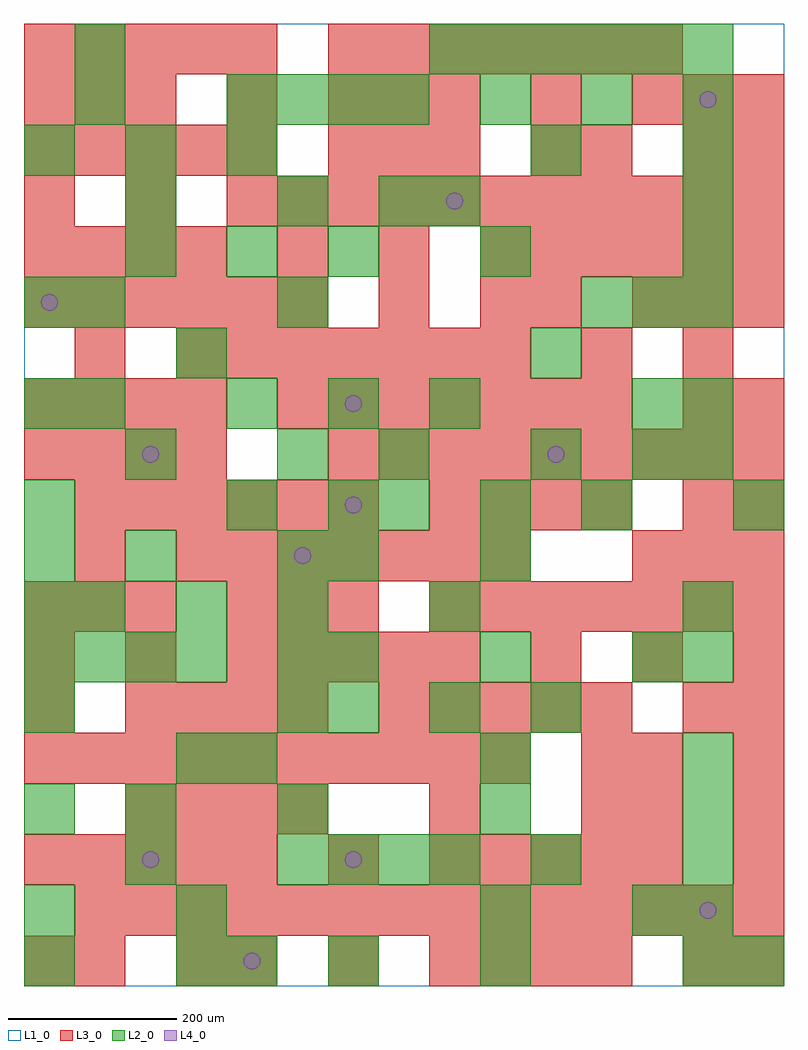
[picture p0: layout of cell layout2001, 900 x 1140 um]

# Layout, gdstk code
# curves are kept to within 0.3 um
import gdstk
lib = gdstk.Library(unit=1e-6, precision=1e-09)
def R(c, l, rs):  # rectangles x0, y0, x1, y1
    for r in rs: c.add(gdstk.rectangle(r[:2], r[2:], *l))
def A(c, l, x, y, w, h, nx, ny, dx, dy):  # array of equal rectangles
    R(c, l, [(x+i*dx, y+j*dy, x+i*dx+w, y+j*dy+h) for i in range(nx) for j in range(ny)])
def P(c, l, *ps):  # polygons
    for p in ps: c.add(gdstk.Polygon(p, *l))
L1_0 = (1, 0)
L2_0 = (2, 0)
L3_0 = (3, 0)
L4_0 = (4, 0)

layout2001 = lib.new_cell('layout2001')
R(layout2001, L1_0, [(0,0,900,1140)])
A(layout2001, L2_0, 780, 0, 60, 60, 1, 3, 0, 60)
A(layout2001, L2_0, 0, 60, 60, 60, 1, 4, 0, 120)
A(layout2001, L2_0, 300, 120, 60, 60, 4, 1, 60, 0)
A(layout2001, L2_0, 300, 180, 60, 60, 3, 1, 240, 0)
A(layout2001, L2_0, 360, 300, 60, 60, 3, 1, 120, 0)
A(layout2001, L2_0, 0, 360, 60, 60, 4, 1, 60, 0)
A(layout2001, L2_0, 300, 360, 60, 60, 1, 3, 0, 120)
A(layout2001, L2_0, 360, 360, 60, 60, 3, 1, 180, 0)
A(layout2001, L2_0, 60, 420, 60, 60, 3, 1, 120, 0)
A(layout2001, L2_0, 0, 540, 60, 60, 1, 3, 0, 120)
A(layout2001, L2_0, 420, 540, 60, 60, 3, 1, 120, 0)
A(layout2001, L2_0, 240, 660, 60, 60, 3, 1, 120, 0)
A(layout2001, L2_0, 660, 780, 60, 60, 3, 1, 60, 0)
A(layout2001, L2_0, 120, 840, 60, 60, 3, 1, 120, 0)
A(layout2001, L2_0, 780, 840, 60, 60, 1, 3, 0, 60)
A(layout2001, L2_0, 0, 960, 60, 60, 3, 1, 120, 0)
A(layout2001, L2_0, 240, 1020, 60, 60, 4, 1, 60, 0)
A(layout2001, L2_0, 540, 1020, 60, 60, 3, 1, 120, 0)
A(layout2001, L2_0, 480, 1080, 60, 60, 6, 1, 60, 0)
R(layout2001, L2_0, [(0,0,60,60), (180,0,240,60), (240,0,300,60), (360,0,420,60), (540,0,600,60), (840,0,900,60), (180,60,240,120), (540,60,600,120), (720,60,780,120), (120,120,180,180), (600,120,660,180), (120,180,180,240), (180,240,240,300), (240,240,300,300), (540,240,600,300), (780,240,840,300), (300,300,360,360), (780,360,840,420), (480,420,540,480), (780,420,840,480), (0,480,60,540), (120,480,180,540), (360,480,420,540), (540,480,600,540), (240,540,300,600), (360,540,420,600), (840,540,900,600), (120,600,180,660), (420,600,480,660), (600,600,660,660), (720,600,780,660), (780,600,840,660), (60,660,120,720), (720,660,780,720), (780,660,840,720), (180,720,240,780), (600,720,660,780), (60,780,120,840), (300,780,360,840), (540,840,600,900), (120,900,180,960), (300,900,360,960), (420,900,480,960), (480,900,540,960), (600,960,660,1020), (60,1020,120,1080), (60,1080,120,1140)])
A(layout2001, L3_0, 240, 0, 60, 60, 3, 1, 120, 0)
A(layout2001, L3_0, 540, 0, 60, 60, 3, 1, 60, 0)
A(layout2001, L3_0, 60, 60, 60, 60, 14, 1, 60, 0)
A(layout2001, L3_0, 0, 120, 60, 60, 5, 2, 60, 840)
A(layout2001, L3_0, 480, 120, 60, 60, 5, 1, 60, 0)
A(layout2001, L3_0, 840, 120, 60, 60, 1, 4, 0, 60)
A(layout2001, L3_0, 120, 180, 60, 60, 4, 2, 60, 120)
A(layout2001, L3_0, 0, 240, 60, 60, 10, 1, 60, 0)
A(layout2001, L3_0, 420, 300, 60, 60, 5, 1, 60, 0)
A(layout2001, L3_0, 0, 360, 60, 60, 3, 2, 120, 540)
A(layout2001, L3_0, 300, 360, 60, 60, 4, 1, 60, 0)
A(layout2001, L3_0, 600, 360, 60, 60, 3, 1, 120, 0)
A(layout2001, L3_0, 0, 420, 60, 60, 3, 2, 60, 600)
A(layout2001, L3_0, 240, 420, 60, 60, 3, 1, 60, 0)
A(layout2001, L3_0, 480, 420, 60, 60, 7, 1, 60, 0)
A(layout2001, L3_0, 180, 480, 60, 60, 7, 2, 60, 240)
A(layout2001, L3_0, 720, 480, 60, 60, 3, 2, 60, 300)
A(layout2001, L3_0, 60, 540, 60, 60, 6, 1, 60, 0)
A(layout2001, L3_0, 480, 540, 60, 60, 4, 1, 60, 0)
A(layout2001, L3_0, 0, 600, 60, 60, 4, 2, 60, 60)
A(layout2001, L3_0, 360, 600, 60, 60, 9, 1, 60, 0)
A(layout2001, L3_0, 300, 660, 60, 60, 7, 1, 60, 0)
A(layout2001, L3_0, 0, 780, 60, 60, 6, 1, 60, 0)
A(layout2001, L3_0, 0, 840, 60, 60, 4, 1, 60, 0)
A(layout2001, L3_0, 300, 840, 60, 60, 3, 1, 120, 0)
A(layout2001, L3_0, 600, 840, 60, 60, 5, 1, 60, 0)
A(layout2001, L3_0, 300, 900, 60, 60, 10, 1, 60, 0)
A(layout2001, L3_0, 360, 960, 60, 60, 3, 2, 60, 60)
A(layout2001, L3_0, 720, 1020, 60, 60, 3, 1, 60, 0)
A(layout2001, L3_0, 0, 1080, 60, 60, 5, 1, 60, 0)
A(layout2001, L3_0, 360, 1080, 60, 60, 7, 1, 60, 0)
R(layout2001, L3_0, [(0,0,60,60), (60,0,120,60), (180,0,240,60), (780,0,840,60), (840,0,900,60), (360,120,420,180), (480,180,540,240), (660,180,720,240), (720,180,780,240), (660,240,720,300), (720,240,780,300), (0,300,60,360), (780,300,840,360), (60,480,120,540), (780,540,840,600), (840,540,900,600), (780,660,840,720), (840,660,900,720), (60,720,120,780), (660,720,720,780), (780,720,840,780), (420,780,480,840), (540,780,600,840), (600,780,660,840), (600,960,660,1020), (660,960,720,1020), (780,960,840,1020), (840,960,900,1020), (240,1020,300,1080), (600,1020,660,1080)])
P(layout2001, L4_0, [(40,810),(39.239,813.827),(37.071,817.071),(33.827,819.239),(30,820),(26.173,819.239),(22.929,817.071),(20.761,813.827),(20,810),(20.761,806.173),(22.929,802.929),(26.173,800.761),(30,800),(33.827,800.761),(37.071,802.929),(39.239,806.173)],
  [(160,150),(159.239,153.827),(157.071,157.071),(153.827,159.239),(150,160),(146.173,159.239),(142.929,157.071),(140.761,153.827),(140,150),(140.761,146.173),(142.929,142.929),(146.173,140.761),(150,140),(153.827,140.761),(157.071,142.929),(159.239,146.173)],
  [(160,630),(159.239,633.827),(157.071,637.071),(153.827,639.239),(150,640),(146.173,639.239),(142.929,637.071),(140.761,633.827),(140,630),(140.761,626.173),(142.929,622.929),(146.173,620.761),(150,620),(153.827,620.761),(157.071,622.929),(159.239,626.173)],
  [(280,30),(279.239,33.827),(277.071,37.071),(273.827,39.239),(270,40),(266.173,39.239),(262.929,37.071),(260.761,33.827),(260,30),(260.761,26.173),(262.929,22.929),(266.173,20.761),(270,20),(273.827,20.761),(277.071,22.929),(279.239,26.173)],
  [(340,510),(339.239,513.827),(337.071,517.071),(333.827,519.239),(330,520),(326.173,519.239),(322.929,517.071),(320.761,513.827),(320,510),(320.761,506.173),(322.929,502.929),(326.173,500.761),(330,500),(333.827,500.761),(337.071,502.929),(339.239,506.173)],
  [(400,150),(399.239,153.827),(397.071,157.071),(393.827,159.239),(390,160),(386.173,159.239),(382.929,157.071),(380.761,153.827),(380,150),(380.761,146.173),(382.929,142.929),(386.173,140.761),(390,140),(393.827,140.761),(397.071,142.929),(399.239,146.173)],
  [(400,570),(399.239,573.827),(397.071,577.071),(393.827,579.239),(390,580),(386.173,579.239),(382.929,577.071),(380.761,573.827),(380,570),(380.761,566.173),(382.929,562.929),(386.173,560.761),(390,560),(393.827,560.761),(397.071,562.929),(399.239,566.173)],
  [(400,690),(399.239,693.827),(397.071,697.071),(393.827,699.239),(390,700),(386.173,699.239),(382.929,697.071),(380.761,693.827),(380,690),(380.761,686.173),(382.929,682.929),(386.173,680.761),(390,680),(393.827,680.761),(397.071,682.929),(399.239,686.173)],
  [(520,930),(519.239,933.827),(517.071,937.071),(513.827,939.239),(510,940),(506.173,939.239),(502.929,937.071),(500.761,933.827),(500,930),(500.761,926.173),(502.929,922.929),(506.173,920.761),(510,920),(513.827,920.761),(517.071,922.929),(519.239,926.173)],
  [(640,630),(639.239,633.827),(637.071,637.071),(633.827,639.239),(630,640),(626.173,639.239),(622.929,637.071),(620.761,633.827),(620,630),(620.761,626.173),(622.929,622.929),(626.173,620.761),(630,620),(633.827,620.761),(637.071,622.929),(639.239,626.173)],
  [(820,90),(819.239,93.827),(817.071,97.071),(813.827,99.239),(810,100),(806.173,99.239),(802.929,97.071),(800.761,93.827),(800,90),(800.761,86.173),(802.929,82.929),(806.173,80.761),(810,80),(813.827,80.761),(817.071,82.929),(819.239,86.173)],
  [(820,1050),(819.239,1053.827),(817.071,1057.071),(813.827,1059.239),(810,1060),(806.173,1059.239),(802.929,1057.071),(800.761,1053.827),(800,1050),(800.761,1046.173),(802.929,1042.929),(806.173,1040.761),(810,1040),(813.827,1040.761),(817.071,1042.929),(819.239,1046.173)])

lib.write_gds('layout2001.gds')
